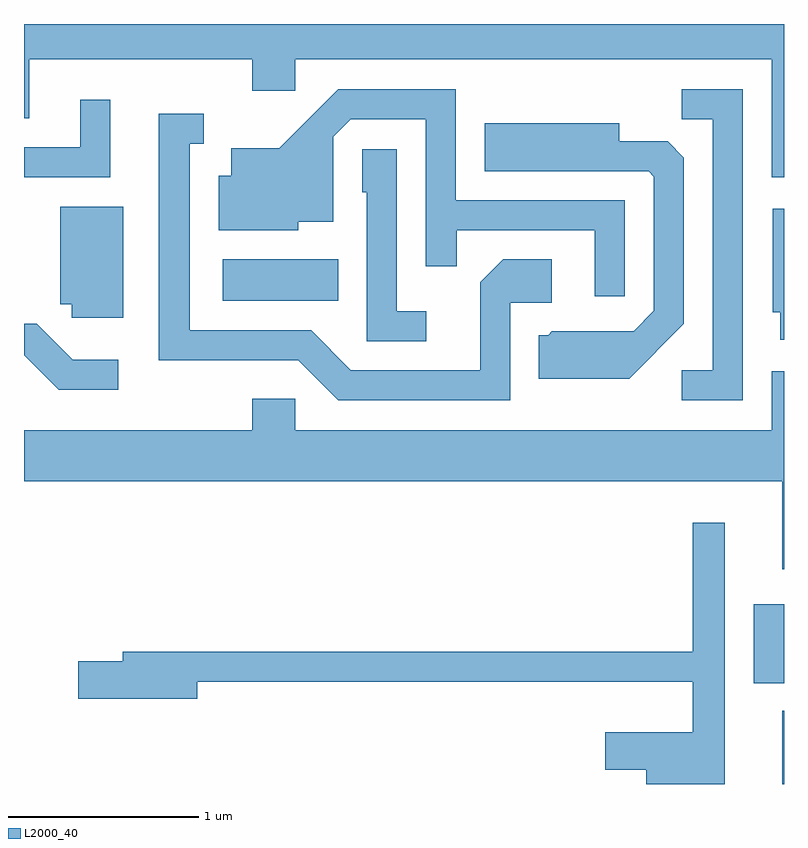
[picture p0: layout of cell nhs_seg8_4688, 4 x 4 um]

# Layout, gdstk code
import gdstk
lib = gdstk.Library(unit=1e-6, precision=1e-09)
def R(c, l, rs):  # rectangles x0, y0, x1, y1
    for r in rs: c.add(gdstk.rectangle(r[:2], r[2:], *l))
def P(c, l, *ps):  # polygons
    for p in ps: c.add(gdstk.Polygon(p, *l))
L2000_40 = (2000, 40)

nhs_seg8_4688 = lib.new_cell('nhs_seg8_4688')
R(nhs_seg8_4688, L2000_40, [(329.601,1870.342,329.611,1870.728), (329.451,1870.871,329.611,1871.289), (326.656,1872.886,327.264,1873.104)])
P(nhs_seg8_4688, L2000_40, [(329.611,1874.342),(325.611,1874.342),(325.611,1873.846),(325.639,1873.846),(325.639,1874.156),(326.811,1874.156),(326.811,1873.991),(327.039,1873.991),(327.039,1874.156),(329.546,1874.156),(329.546,1873.536),(329.611,1873.536)],
  [(328.774,1873.414),(327.884,1873.414),(327.884,1873.999),(327.264,1873.999),(326.954,1873.689),(326.701,1873.689),(326.701,1873.544),(326.636,1873.544),(326.636,1873.256),(327.054,1873.256),(327.054,1873.301),(327.239,1873.301),(327.239,1873.749),(327.332,1873.841),(327.726,1873.841),(327.726,1873.068),(327.889,1873.068),(327.889,1873.256),(328.616,1873.256),(328.616,1872.908),(328.774,1872.908)],
  [(329.394,1873.999),(329.073,1873.999),(329.073,1873.841),(329.236,1873.841),(329.236,1872.519),(329.073,1872.519),(329.073,1872.361),(329.394,1872.361)],
  [(326.064,1873.943),(325.906,1873.943),(325.906,1873.694),(325.611,1873.694),(325.611,1873.536),(326.064,1873.536)],
  [(328.169,1872.876),(328.389,1872.876),(328.389,1873.104),(328.134,1873.104),(328.011,1872.982),(328.011,1872.519),(327.332,1872.519),(327.122,1872.729),(326.484,1872.729),(326.484,1873.711),(326.558,1873.711),(326.558,1873.869),(326.321,1873.869),(326.321,1872.571),(327.054,1872.571),(327.264,1872.361),(328.169,1872.361)],
  [(329.084,1872.764),(329.084,1873.639),(328.999,1873.724),(328.744,1873.724),(328.744,1873.819),(328.036,1873.819),(328.036,1873.566),(328.899,1873.566),(328.926,1873.539),(328.926,1872.832),(328.819,1872.724),(328.389,1872.724),(328.369,1872.704),(328.321,1872.704),(328.321,1872.476),(328.797,1872.476)],
  [(327.728,1872.829),(327.574,1872.829),(327.574,1873.684),(327.391,1873.684),(327.391,1873.456),(327.416,1873.456),(327.416,1872.671),(327.728,1872.671)],
  [(326.134,1873.379),(325.801,1873.379),(325.801,1872.866),(325.861,1872.866),(325.861,1872.796),(326.134,1872.796)],
  [(329.611,1873.369),(329.551,1873.369),(329.551,1872.826),(329.591,1872.826),(329.591,1872.681),(329.611,1872.681)],
  [(326.108,1872.574),(325.867,1872.574),(325.677,1872.764),(325.611,1872.764),(325.611,1872.599),(325.794,1872.416),(326.108,1872.416)],
  [(329.611,1872.514),(329.546,1872.514),(329.546,1872.204),(327.039,1872.204),(327.039,1872.369),(326.811,1872.369),(326.811,1872.204),(325.611,1872.204),(325.611,1871.936),(329.601,1871.936),(329.601,1871.473),(329.611,1871.473)],
  [(329.299,1871.718),(329.131,1871.718),(329.131,1871.039),(326.131,1871.039),(326.131,1870.989),(325.896,1870.989),(325.896,1870.791),(326.524,1870.791),(326.524,1870.881),(329.131,1870.881),(329.131,1870.614),(328.671,1870.614),(328.671,1870.416),(328.886,1870.416),(328.886,1870.342),(329.299,1870.342)])

lib.write_gds('nhs_seg8_4688.gds')
